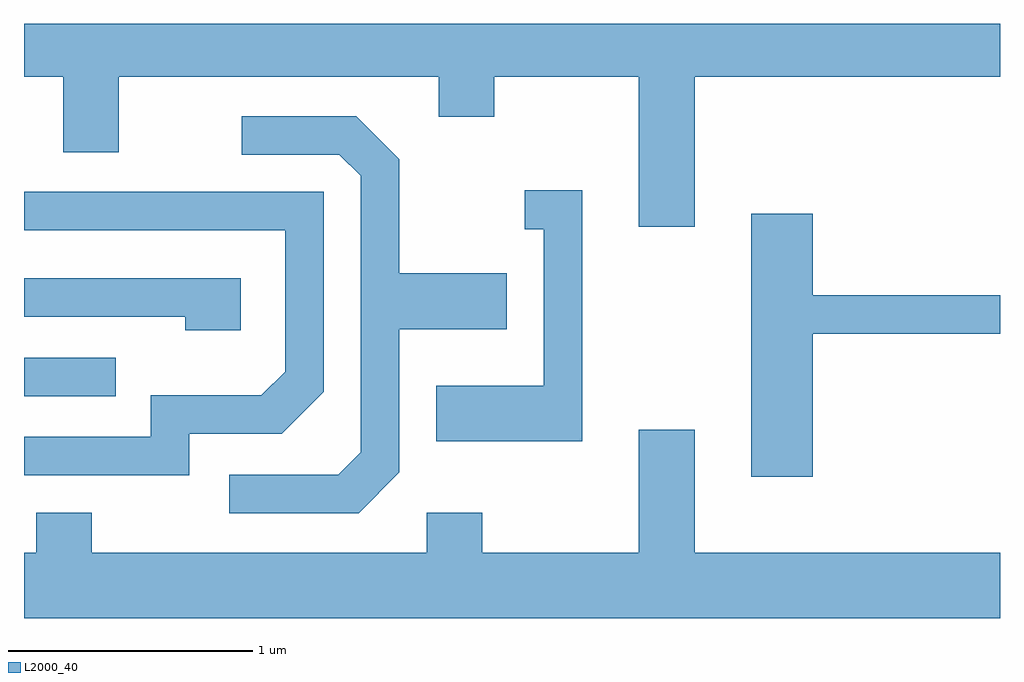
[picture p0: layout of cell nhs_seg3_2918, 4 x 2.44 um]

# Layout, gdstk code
import gdstk
lib = gdstk.Library(unit=1e-6, precision=1e-09)
def R(c, l, rs):  # rectangles x0, y0, x1, y1
    for r in rs: c.add(gdstk.rectangle(r[:2], r[2:], *l))
def P(c, l, *ps):  # polygons
    for p in ps: c.add(gdstk.Polygon(p, *l))
L2000_40 = (2000, 40)

nhs_seg3_2918 = lib.new_cell('nhs_seg3_2918')
R(nhs_seg3_2918, L2000_40, [(269.611,1242.366,269.988,1242.524)])
P(nhs_seg3_2918, L2000_40, [(272.359,1243.676),(273.611,1243.676),(273.611,1243.892),(269.611,1243.892),(269.611,1243.676),(269.771,1243.676),(269.771,1243.366),(269.999,1243.366),(269.999,1243.676),(271.311,1243.676),(271.311,1243.511),(271.539,1243.511),(271.539,1243.676),(272.131,1243.676),(272.131,1243.061),(272.359,1243.061)],
  [(271.149,1242.054),(271.149,1242.641),(271.589,1242.641),(271.589,1242.869),(271.149,1242.869),(271.149,1243.337),(270.972,1243.514),(270.503,1243.514),(270.503,1243.356),(270.904,1243.356),(270.991,1243.269),(270.991,1242.137),(270.899,1242.044),(270.453,1242.044),(270.453,1241.886),(270.982,1241.886)],
  [(271.899,1243.209),(271.663,1243.209),(271.663,1243.051),(271.741,1243.051),(271.741,1242.409),(271.301,1242.409),(271.301,1242.181),(271.899,1242.181)],
  [(270.289,1242.211),(270.667,1242.211),(270.839,1242.384),(270.839,1243.204),(269.611,1243.204),(269.611,1243.046),(270.681,1243.046),(270.681,1242.467),(270.584,1242.369),(270.131,1242.369),(270.131,1242.199),(269.611,1242.199),(269.611,1242.041),(270.289,1242.041)],
  [(272.844,1242.621),(273.611,1242.621),(273.611,1242.779),(272.844,1242.779),(272.844,1243.114),(272.591,1243.114),(272.591,1242.036),(272.844,1242.036)],
  [(270.499,1242.849),(269.611,1242.849),(269.611,1242.691),(270.271,1242.691),(270.271,1242.636),(270.499,1242.636)],
  [(273.611,1241.724),(272.359,1241.724),(272.359,1242.229),(272.131,1242.229),(272.131,1241.724),(271.489,1241.724),(271.489,1241.889),(271.261,1241.889),(271.261,1241.724),(269.889,1241.724),(269.889,1241.889),(269.661,1241.889),(269.661,1241.724),(269.611,1241.724),(269.611,1241.456),(273.611,1241.456)])

lib.write_gds('nhs_seg3_2918.gds')
